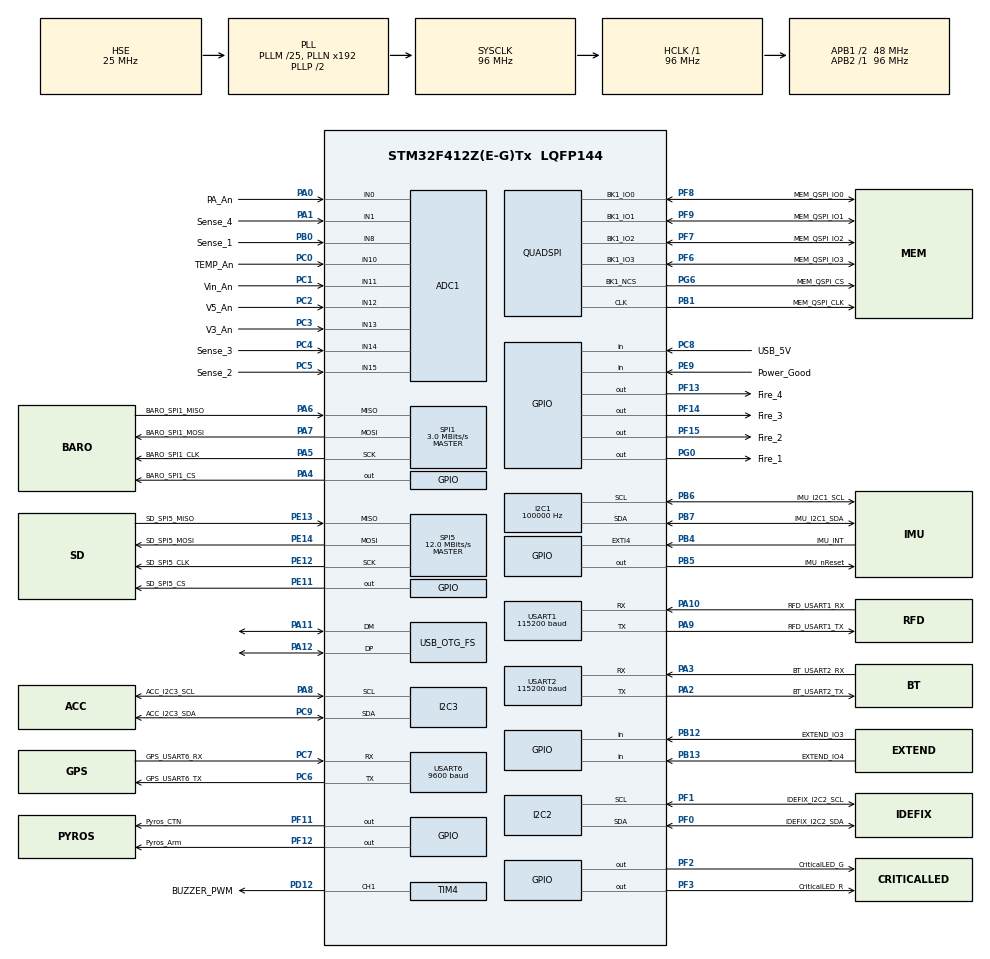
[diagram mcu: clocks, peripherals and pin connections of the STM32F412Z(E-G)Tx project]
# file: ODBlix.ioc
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ADC1.Channel-0\#ChannelRegularConversion=ADC_CHANNEL_0
ADC1.Channel-1\#ChannelRegularConversion=ADC_CHANNEL_1
ADC1.Channel-10\#ChannelRegularConversion=ADC_CHANNEL_VREFINT
ADC1.Channel-2\#ChannelRegularConversion=ADC_CHANNEL_8
ADC1.Channel-3\#ChannelRegularConversion=ADC_CHANNEL_10
ADC1.Channel-4\#ChannelRegularConversion=ADC_CHANNEL_11
ADC1.Channel-5\#ChannelRegularConversion=ADC_CHANNEL_12
ADC1.Channel-6\#ChannelRegularConversion=ADC_CHANNEL_13
ADC1.Channel-7\#ChannelRegularConversion=ADC_CHANNEL_14
ADC1.Channel-8\#ChannelRegularConversion=ADC_CHANNEL_15
ADC1.Channel-9\#ChannelRegularConversion=ADC_CHANNEL_TEMPSENSOR
ADC1.DMAContinuousRequests=ENABLE
ADC1.ExternalTrigConv=ADC_EXTERNALTRIGCONV_T2_TRGO
ADC1.InjNumberOfConversion=0
ADC1.NbrOfConversion=11
ADC1.NbrOfConversionFlag=1
ADC1.Rank-0\#ChannelRegularConversion=1
ADC1.Rank-1\#ChannelRegularConversion=2
ADC1.Rank-10\#ChannelRegularConversion=11
ADC1.Rank-2\#ChannelRegularConversion=3
ADC1.Rank-3\#ChannelRegularConversion=4
ADC1.Rank-4\#ChannelRegularConversion=5
ADC1.Rank-5\#ChannelRegularConversion=6
ADC1.Rank-6\#ChannelRegularConversion=7
ADC1.Rank-7\#ChannelRegularConversion=8
ADC1.Rank-8\#ChannelRegularConversion=9
ADC1.Rank-9\#ChannelRegularConversion=10
ADC1.SamplingTime-0\#ChannelRegularConversion=ADC_SAMPLETIME_56CYCLES
ADC1.SamplingTime-1\#ChannelRegularConversion=ADC_SAMPLETIME_56CYCLES
ADC1.SamplingTime-10\#ChannelRegularConversion=ADC_SAMPLETIME_56CYCLES
ADC1.SamplingTime-2\#ChannelRegularConversion=ADC_SAMPLETIME_56CYCLES
ADC1.SamplingTime-3\#ChannelRegularConversion=ADC_SAMPLETIME_56CYCLES
ADC1.SamplingTime-4\#ChannelRegularConversion=ADC_SAMPLETIME_56CYCLES
ADC1.SamplingTime-5\#ChannelRegularConversion=ADC_SAMPLETIME_56CYCLES
ADC1.SamplingTime-6\#ChannelRegularConversion=ADC_SAMPLETIME_56CYCLES
ADC1.SamplingTime-7\#ChannelRegularConversion=ADC_SAMPLETIME_56CYCLES
ADC1.SamplingTime-8\#ChannelRegularConversion=ADC_SAMPLETIME_56CYCLES
ADC1.SamplingTime-9\#ChannelRegularConversion=ADC_SAMPLETIME_56CYCLES
ADC1.ScanConvMode=ENABLE
ADC1.master=1
Dma.ADC1.0.Direction=DMA_PERIPH_TO_MEMORY
Dma.ADC1.0.FIFOMode=DMA_FIFOMODE_DISABLE
Dma.ADC1.0.Instance=DMA2_Stream0
Dma.ADC1.0.MemDataAlignment=DMA_MDATAALIGN_HALFWORD
Dma.ADC1.0.MemInc=DMA_MINC_ENABLE
Dma.ADC1.0.Mode=DMA_CIRCULAR
Dma.ADC1.0.PeriphDataAlignment=DMA_PDATAALIGN_HALFWORD
Dma.ADC1.0.PeriphInc=DMA_PINC_DISABLE
Dma.ADC1.0.Priority=DMA_PRIORITY_MEDIUM
Dma.I2C1_RX.2.Direction=DMA_PERIPH_TO_MEMORY
Dma.I2C1_RX.2.FIFOMode=DMA_FIFOMODE_DISABLE
Dma.I2C1_RX.2.Instance=DMA1_Stream0
Dma.I2C1_RX.2.MemDataAlignment=DMA_MDATAALIGN_BYTE
Dma.I2C1_RX.2.MemInc=DMA_MINC_ENABLE
Dma.I2C1_RX.2.Mode=DMA_CIRCULAR
Dma.I2C1_RX.2.PeriphDataAlignment=DMA_PDATAALIGN_BYTE
Dma.I2C1_RX.2.PeriphInc=DMA_PINC_DISABLE
Dma.I2C1_RX.2.Priority=DMA_PRIORITY_LOW
Dma.Request0=ADC1
Dma.Request1=USART6_RX
Dma.Request2=I2C1_RX
Dma.Request3=SPI5_TX
Dma.Request4=SPI5_RX
Dma.Request5=USART1_TX
Dma.Request6=USART2_TX
Dma.SPI5_RX.4.Direction=DMA_PERIPH_TO_MEMORY
Dma.SPI5_RX.4.FIFOMode=DMA_FIFOMODE_DISABLE
Dma.SPI5_RX.4.Instance=DMA2_Stream3
Dma.SPI5_RX.4.MemDataAlignment=DMA_MDATAALIGN_BYTE
Dma.SPI5_RX.4.MemInc=DMA_MINC_ENABLE
Dma.SPI5_RX.4.Mode=DMA_NORMAL
Dma.SPI5_RX.4.PeriphDataAlignment=DMA_PDATAALIGN_BYTE
Dma.SPI5_RX.4.PeriphInc=DMA_PINC_DISABLE
Dma.SPI5_RX.4.Priority=DMA_PRIORITY_LOW
Dma.SPI5_TX.3.Direction=DMA_MEMORY_TO_PERIPH
Dma.SPI5_TX.3.FIFOMode=DMA_FIFOMODE_DISABLE
Dma.SPI5_TX.3.Instance=DMA2_Stream4
Dma.SPI5_TX.3.MemDataAlignment=DMA_MDATAALIGN_BYTE
Dma.SPI5_TX.3.MemInc=DMA_MINC_ENABLE
Dma.SPI5_TX.3.Mode=DMA_NORMAL
Dma.SPI5_TX.3.PeriphDataAlignment=DMA_PDATAALIGN_BYTE
Dma.SPI5_TX.3.PeriphInc=DMA_PINC_DISABLE
Dma.SPI5_TX.3.Priority=DMA_PRIORITY_LOW
Dma.USART1_TX.5.Direction=DMA_MEMORY_TO_PERIPH
Dma.USART1_TX.5.FIFOMode=DMA_FIFOMODE_DISABLE
Dma.USART1_TX.5.Instance=DMA2_Stream7
Dma.USART1_TX.5.MemDataAlignment=DMA_MDATAALIGN_BYTE
Dma.USART1_TX.5.MemInc=DMA_MINC_ENABLE
Dma.USART1_TX.5.Mode=DMA_CIRCULAR
Dma.USART1_TX.5.PeriphDataAlignment=DMA_PDATAALIGN_BYTE
Dma.USART1_TX.5.PeriphInc=DMA_PINC_DISABLE
Dma.USART1_TX.5.Priority=DMA_PRIORITY_LOW
Dma.USART2_TX.6.Direction=DMA_MEMORY_TO_PERIPH
Dma.USART2_TX.6.FIFOMode=DMA_FIFOMODE_DISABLE
Dma.USART2_TX.6.Instance=DMA1_Stream6
Dma.USART2_TX.6.MemDataAlignment=DMA_MDATAALIGN_BYTE
Dma.USART2_TX.6.MemInc=DMA_MINC_ENABLE
Dma.USART2_TX.6.Mode=DMA_NORMAL
Dma.USART2_TX.6.PeriphDataAlignment=DMA_PDATAALIGN_BYTE
Dma.USART2_TX.6.PeriphInc=DMA_PINC_DISABLE
Dma.USART2_TX.6.Priority=DMA_PRIORITY_LOW
Dma.USART6_RX.1.Direction=DMA_PERIPH_TO_MEMORY
Dma.USART6_RX.1.FIFOMode=DMA_FIFOMODE_DISABLE
Dma.USART6_RX.1.Instance=DMA2_Stream1
Dma.USART6_RX.1.MemDataAlignment=DMA_MDATAALIGN_BYTE
Dma.USART6_RX.1.MemInc=DMA_MINC_ENABLE
Dma.USART6_RX.1.Mode=DMA_CIRCULAR
Dma.USART6_RX.1.PeriphDataAlignment=DMA_PDATAALIGN_BYTE
Dma.USART6_RX.1.PeriphInc=DMA_PINC_DISABLE
Dma.USART6_RX.1.Priority=DMA_PRIORITY_MEDIUM
FATFS._FS_EXFAT=1
FATFS._MAX_SS=512
FATFS._USE_LFN=1
I2C1.ClockSpeed=100000
I2C1.I2C_Mode=I2C_Standard
I2C2.I2C_Mode=I2C_Standard
I2C3.I2C_Mode=I2C_Standard
Mcu.Family=STM32F4
Mcu.Name=STM32F412Z(E-G)Tx
Mcu.Package=LQFP144
NVIC.ADC_IRQn=true\:0\:0\:false\:false\:true\:true\:true\:true
NVIC.DMA1_Stream0_IRQn=true\:0\:0\:false\:false\:true\:false\:true\:true
NVIC.DMA1_Stream6_IRQn=true\:0\:0\:false\:false\:true\:false\:true\:true
NVIC.DMA2_Stream0_IRQn=true\:0\:0\:false\:false\:true\:false\:true\:true
NVIC.DMA2_Stream1_IRQn=true\:0\:0\:false\:false\:true\:false\:true\:true
NVIC.DMA2_Stream3_IRQn=true\:0\:0\:false\:false\:true\:false\:true\:true
NVIC.DMA2_Stream4_IRQn=true\:0\:0\:false\:false\:true\:false\:true\:true
NVIC.DMA2_Stream7_IRQn=true\:0\:0\:false\:false\:true\:false\:true\:true
NVIC.EXTI4_IRQn=true\:0\:0\:false\:false\:true\:true\:true\:true
NVIC.I2C1_EV_IRQn=true\:0\:0\:false\:false\:true\:true\:true\:true
NVIC.OTG_FS_IRQn=true\:0\:0\:false\:false\:true\:false\:true\:true
NVIC.PriorityGroup=NVIC_PRIORITYGROUP_4
NVIC.SPI5_IRQn=true\:0\:0\:false\:false\:true\:true\:true\:true
NVIC.TIM5_IRQn=true\:0\:0\:false\:false\:true\:true\:true\:true
NVIC.USART1_IRQn=true\:0\:0\:false\:false\:true\:true\:true\:true
NVIC.USART2_IRQn=true\:0\:0\:false\:false\:true\:true\:true\:true
NVIC.USART6_IRQn=true\:0\:0\:false\:false\:true\:true\:true\:true
PA0.GPIO_Label=PA_An
PA0.Signal=ADCx_IN0
PA1.GPIO_Label=Sense_4
PA1.Signal=ADCx_IN1
PA10.GPIO_Label=RFD_USART1_RX
PA10.Mode=Asynchronous
PA10.Signal=USART1_RX
PA11.Mode=Device_Only
PA11.Signal=USB_OTG_FS_DM
PA12.Mode=Device_Only
PA12.Signal=USB_OTG_FS_DP
PA13.GPIO_Label=SYS_SWDIO
PA13.Mode=Trace_Asynchronous_SW
PA13.Signal=SYS_JTMS-SWDIO
PA14.GPIO_Label=SYS_SWCLK
PA14.Mode=Trace_Asynchronous_SW
PA14.Signal=SYS_JTCK-SWCLK
PA2.GPIO_Label=BT_USART2_TX
PA2.Mode=Asynchronous
PA2.Signal=USART2_TX
PA3.GPIO_Label=BT_USART2_RX
PA3.Mode=Asynchronous
PA3.Signal=USART2_RX
PA4.GPIO_Label=BARO_SPI1_CS
PA4.Signal=GPIO_Output
PA5.GPIO_Label=BARO_SPI1_CLK
PA5.Mode=Full_Duplex_Master
PA5.Signal=SPI1_SCK
PA6.GPIO_Label=BARO_SPI1_MISO
PA6.Mode=Full_Duplex_Master
PA6.Signal=SPI1_MISO
PA7.GPIO_Label=BARO_SPI1_MOSI
PA7.Mode=Full_Duplex_Master
PA7.Signal=SPI1_MOSI
PA8.GPIO_Label=ACC_I2C3_SCL
PA8.GPIO_Speed=GPIO_SPEED_FREQ_MEDIUM
PA8.Mode=I2C
PA8.Signal=I2C3_SCL
PA9.GPIO_Label=RFD_USART1_TX
PA9.Mode=Asynchronous
PA9.Signal=USART1_TX
PB0.GPIO_Label=Sense_1
PB0.Signal=ADCx_IN8
PB1.GPIO_Label=MEM_QSPI_CLK
PB1.Mode=Single Bank 1
PB1.Signal=QUADSPI_CLK
PB10.GPIO_Label=EXTEND_IO1
PB10.Signal=USART3_TX
PB11.GPIO_Label=EXTEND_IO2
PB11.Signal=USART3_RX
PB12.GPIO_Label=EXTEND_IO3
PB12.Signal=GPIO_Input
PB13.GPIO_Label=EXTEND_IO4
PB13.Signal=GPIO_Input
PB3.GPIO_Label=SYS_SWO
PB3.Mode=Trace_Asynchronous_SW
PB3.Signal=SYS_JTDO-SWO
PB4.GPIO_Label=IMU_INT
PB4.GPIO_PuPd=GPIO_PULLDOWN
PB4.Signal=GPXTI4
PB5.GPIO_Label=IMU_nReset
PB5.Signal=GPIO_Output
PB6.GPIO_Label=IMU_I2C1_SCL
PB6.GPIO_Speed=GPIO_SPEED_FREQ_MEDIUM
PB6.Mode=I2C
PB6.Signal=I2C1_SCL
PB7.GPIO_Label=IMU_I2C1_SDA
PB7.GPIO_Speed=GPIO_SPEED_FREQ_MEDIUM
PB7.Mode=I2C
PB7.Signal=I2C1_SDA
PC0.GPIO_Label=TEMP_An
PC0.Signal=ADCx_IN10
PC1.GPIO_Label=Vin_An
PC1.Signal=ADCx_IN11
PC2.GPIO_Label=V5_An
PC2.Signal=ADCx_IN12
PC3.GPIO_Label=V3_An
PC3.Signal=ADCx_IN13
PC4.GPIO_Label=Sense_3
PC4.Signal=ADCx_IN14
PC5.GPIO_Label=Sense_2
PC5.Signal=ADCx_IN15
PC6.GPIO_Label=GPS_USART6_TX
PC6.Mode=Asynchronous
PC6.Signal=USART6_TX
PC7.GPIO_Label=GPS_USART6_RX
PC7.Mode=Asynchronous
PC7.Signal=USART6_RX
PC8.GPIO_Label=USB_5V
PC8.Signal=GPIO_Input
PC9.GPIO_Label=ACC_I2C3_SDA
PC9.GPIO_Speed=GPIO_SPEED_FREQ_MEDIUM
PC9.Mode=I2C
PC9.Signal=I2C3_SDA
PD12.GPIO_Label=BUZZER_PWM
PD12.Signal=S_TIM4_CH1
PE11.GPIO_Label=SD_SPI5_CS
PE11.Signal=GPIO_Output
PE12.GPIO_Label=SD_SPI5_CLK
PE12.Mode=Full_Duplex_Master
PE12.Signal=SPI5_SCK
PE13.GPIO_Label=SD_SPI5_MISO
PE13.Mode=Full_Duplex_Master
PE13.Signal=SPI5_MISO
PE14.GPIO_Label=SD_SPI5_MOSI
PE14.Mode=Full_Duplex_Master
PE14.Signal=SPI5_MOSI
PE9.GPIO_Label=Power_Good
PE9.Signal=GPIO_Input
PF0.GPIO_Label=IDEFIX_I2C2_SDA
PF0.GPIO_Speed=GPIO_SPEED_FREQ_MEDIUM
PF0.Mode=I2C
PF0.Signal=I2C2_SDA
PF1.GPIO_Label=IDEFIX_I2C2_SCL
PF1.GPIO_Speed=GPIO_SPEED_FREQ_MEDIUM
PF1.Mode=I2C
PF1.Signal=I2C2_SCL
PF11.GPIO_Label=Pyros_CTN
PF11.Signal=GPIO_Output
PF12.GPIO_Label=Pyros_Arm
PF12.Signal=GPIO_Output
PF13.GPIO_Label=Fire_4
PF13.Signal=GPIO_Output
PF14.GPIO_Label=Fire_3
PF14.Signal=GPIO_Output
PF15.GPIO_Label=Fire_2
PF15.Signal=GPIO_Output
PF2.GPIO_Label=CriticalLED_G
PF2.Signal=GPIO_Output
PF3.GPIO_Label=CriticalLED_R
PF3.Signal=GPIO_Output
PF6.GPIO_Label=MEM_QSPI_IO3
PF6.Mode=Single Bank 1
PF6.Signal=QUADSPI_BK1_IO3
PF7.GPIO_Label=MEM_QSPI_IO2
PF7.Mode=Single Bank 1
PF7.Signal=QUADSPI_BK1_IO2
PF8.GPIO_Label=MEM_QSPI_IO0
PF8.Mode=Single Bank 1
PF8.Signal=QUADSPI_BK1_IO0
PF9.GPIO_Label=MEM_QSPI_IO1
PF9.Mode=Single Bank 1
PF9.Signal=QUADSPI_BK1_IO1
PG0.GPIO_Label=Fire_1
PG0.Signal=GPIO_Output
PG6.GPIO_Label=MEM_QSPI_CS
PG6.Mode=Single Bank 1
PG6.Signal=QUADSPI_BK1_NCS
PH0\ -\ OSC_IN.Mode=HSE-External-Oscillator
PH0\ -\ OSC_IN.Signal=RCC_OSC_IN
PH1\ -\ OSC_OUT.Mode=HSE-External-Oscillator
PH1\ -\ OSC_OUT.Signal=RCC_OSC_OUT
ProjectManager.HeapSize=0x200
ProjectManager.StackSize=0x400
ProjectManager.TargetToolchain=CMake
QUADSPI.ChipSelectHighTime=QSPI_CS_HIGH_TIME_2_CYCLE
QUADSPI.ClockPrescaler=3
QUADSPI.FlashSize=25
RCC.AHBFreq_Value=96000000
RCC.APB1CLKDivider=RCC_HCLK_DIV2
RCC.APB1Freq_Value=48000000
RCC.APB1TimFreq_Value=96000000
RCC.APB2Freq_Value=96000000
RCC.APB2TimFreq_Value=96000000
RCC.CortexFreq_Value=96000000
RCC.EnbaleCSS=true
RCC.HCLKFreq_Value=96000000
RCC.HSE_VALUE=25000000
RCC.PLLM=25
RCC.PLLQ=4
RCC.SYSCLKFreq_VALUE=96000000
RCC.SYSCLKSource=RCC_SYSCLKSOURCE_PLLCLK
RCC.USBFreq_Value=48000000
RCC.VCOOutputFreq_Value=192000000
SH.ADCx_IN0.0=ADC1_IN0,IN0
SH.ADCx_IN1.0=ADC1_IN1,IN1
SH.ADCx_IN10.0=ADC1_IN10,IN10
SH.ADCx_IN11.0=ADC1_IN11,IN11
SH.ADCx_IN12.0=ADC1_IN12,IN12
SH.ADCx_IN13.0=ADC1_IN13,IN13
SH.ADCx_IN14.0=ADC1_IN14,IN14
SH.ADCx_IN15.0=ADC1_IN15,IN15
SH.ADCx_IN8.0=ADC1_IN8,IN8
SH.S_TIM4_CH1.0=TIM4_CH1,PWM Generation1 CH1
SPI1.BaudRatePrescaler=SPI_BAUDRATEPRESCALER_32
SPI1.CLKPolarity=SPI_POLARITY_LOW
SPI1.CalculateBaudRate=3.0 MBits/s
SPI1.Direction=SPI_DIRECTION_2LINES
SPI1.Mode=SPI_MODE_MASTER
SPI1.VirtualType=VM_MASTER
SPI5.BaudRatePrescaler=SPI_BAUDRATEPRESCALER_8
SPI5.CalculateBaudRate=12.0 MBits/s
SPI5.Direction=SPI_DIRECTION_2LINES
SPI5.Mode=SPI_MODE_MASTER
SPI5.VirtualType=VM_MASTER
TIM2.Period=9999
TIM2.Prescaler=959
TIM2.TIM_MasterOutputTrigger=TIM_TRGO_UPDATE
TIM4.AutoReloadPreload=TIM_AUTORELOAD_PRELOAD_ENABLE
TIM4.Channel-PWM\ Generation1\ CH1=TIM_CHANNEL_1
TIM4.Period=369
TIM4.Prescaler=95
TIM4.Pulse-PWM\ Generation1\ CH1=185
TIM5.Period=4294967295
TIM5.Prescaler=95
USART1.BaudRate=115200
USART1.Mode=MODE_TX
USART1.VirtualMode=VM_ASYNC
USART1.WordLength=WORDLENGTH_8B
USART2.BaudRate=115200
USART2.VirtualMode=VM_ASYNC
USART2.WordLength=WORDLENGTH_8B
USART6.BaudRate=9600
USART6.VirtualMode=VM_ASYNC
USB_DEVICE.CLASS_NAME_FS=MSC
USB_DEVICE.MSC_MEDIA_PACKET=4096
USB_DEVICE.USBD_LPM_ENABLED=0
USB_DEVICE.USBD_SELF_POWERED=1
USB_DEVICE.VirtualMode=Msc
USB_DEVICE.VirtualModeFS=Msc_FS
USB_OTG_FS.VirtualMode=Device_Only
VP_ADC1_TempSens_Input.Mode=IN-TempSens
VP_ADC1_Vref_Input.Mode=IN-Vrefint
VP_FATFS_VS_Generic.Mode=User_defined
VP_TIM2_VS_ClockSourceINT.Mode=Internal
VP_TIM4_VS_ClockSourceINT.Mode=Internal
VP_TIM5_VS_ClockSourceINT.Mode=Internal
VP_USB_DEVICE_VS_USB_DEVICE_MSC_FS.Mode=MSC_FS
board=custom

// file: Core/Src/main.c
/* USER CODE BEGIN Header */
/**
  ******************************************************************************
  * @file           : main.c
  * @brief          : Main program body
  ******************************************************************************
  * @attention
  *
  * Copyright (c) 2025 STMicroelectronics.
  * All rights reserved.
  *
  * This software is licensed under terms that can be found in the LICENSE file
  * in the root directory of this software component.
  * If no LICENSE file comes with this software, it is provided AS-IS.
  *
  ******************************************************************************
  */
/* USER CODE END Header */
#include "main.h"
#include "fatfs.h"
#include "usb_device.h"

/* USER CODE BEGIN Includes */
#include "odb.h"
#include "Systems/tasks.h"
#include "Systems/scheduler.h"
#include "Tools/profiler.h"
#include "Systems/config.h"
#include "Systems/flight_fsm.h"
#include "Drivers/adxl382.h"
#include "Drivers/bno055.h"
#include "Drivers/hm11.h"
#include "Drivers/ms5611.h"
#include "Drivers/bno055.h"
#include "Drivers/l76lm33.h"
#include "Drivers/ltste682krkgwt.h"
#include "Drivers/pyros.h"
#include "Drivers/rfd900x.h"
#include "Drivers/smtb0927twr.h"
#include "Drivers/system_measurements.h"
#include "Drivers/w25q512jveim.h"
#include "Utils/reboot_manager.h"
/* USER CODE END Includes */

ADC_HandleTypeDef hadc1;
DMA_HandleTypeDef hdma_adc1;

I2C_HandleTypeDef hi2c1;
I2C_HandleTypeDef hi2c2;
I2C_HandleTypeDef hi2c3;
DMA_HandleTypeDef hdma_i2c1_rx;

QSPI_HandleTypeDef hqspi;

SPI_HandleTypeDef hspi1;
SPI_HandleTypeDef hspi5;
DMA_HandleTypeDef hdma_spi5_tx;
DMA_HandleTypeDef hdma_spi5_rx;

TIM_HandleTypeDef htim2;
TIM_HandleTypeDef htim4;
TIM_HandleTypeDef htim5;

UART_HandleTypeDef huart1;
UART_HandleTypeDef huart2;
UART_HandleTypeDef huart6;
DMA_HandleTypeDef hdma_usart1_tx;
DMA_HandleTypeDef hdma_usart2_tx;
DMA_HandleTypeDef hdma_usart6_rx;

/* USER CODE BEGIN PV */
adxl382_t adxl382 = {
    .hi2c = &hi2c3,
    .mode = ADXL382_MODE_HP,
	.range = ADXL382_RANGE_30G,
	.filters_cfg = {
		.iir7_bypass  = false,
		.sinc_rate    = ADXL382_SINC_32X,
		.iir1_enable  = false,
		.round_mode   = ADXL382_ROUND_TRUNCATE,
		.dcf_bypass   = false,
		.eq_bypass    = true,
		.lpf_mode     = ADXL382_LPF_ODR_16,
		.hpf_path     = ADXL382_HPF_DSM,
		.hpf_corner   = ADXL382_HPF_NONE,
		.or_behavior  = ADXL382_OR_HOLD_PREV
	},
	.x_axis_offset = {
		.c0 = 0.0f,
		.c1 = 0.0f,
		.c2 = 0.0f,
		.c3 = 0.0f,
	},
	.y_axis_offset = {
		.c0 = 0.0f,
		.c1 = 0.0f,
		.c2 = 0.0f,
		.c3 = 0.0f,
	},
	.z_axis_offset = {
		.c0 = 0.0f,
		.c1 = 0.0f,
		.c2 = 0.0f,
		.c3 = 0.0f,
	},
	.faces_offset = {
		.scale_matrix = {
			{1.0f, 0.0f, 0.0f},
			{0.0f, 1.0f, 0.0f},
			{0.0f, 0.0f, 1.0f}
		},
		.bias = {0.0f, 0.0f, 0.0f}
	}
};
bno055_t bno055 = {
    .hi2c = &hi2c1,
    .drdy_port = IMU_INT_GPIO_Port,
    .drdy_pin = IMU_INT_Pin,
    .rst_port = IMU_nReset_GPIO_Port,
    .rst_pin = IMU_nReset_Pin,
    .op_mode = BNO055_OP_MODE_NDOF,
    .acc_range = BNO055_ACC_RANGE_4G, // effective only if using a non-fusion mode, else its set 4G by IMU's MCU
};
hm11_t hm11 = {
    .huart = &huart2,
    .baudrate = HM11_BAUD_115200,
	.tx_power = HM11_NORMAL_TX_POWER,
};
l76lm33_t l76lm33 = {
	.huart = &huart6,
};
critical_led_t critical_led = {
	.current_color = NONE,
	.r_port = CriticalLED_R_GPIO_Port,
	.g_port = CriticalLED_G_GPIO_Port,
	.r_pin = CriticalLED_R_Pin,
	.g_pin = CriticalLED_G_Pin,
};
ms5611_t ms5611 = {
    .spi = &hspi1,
    .cs_port = BARO_SPI1_CS_GPIO_Port,
    .cs_pin = BARO_SPI1_CS_Pin,
};
pyro_t pyros[4] = {
    {
        .fire_port = Fire_1_GPIO_Port,
        .fire_pin = Fire_1_Pin,
        .channel = PYRO_1,
        .is_connected = false,
        .is_fire = false,
    },
    {
        .fire_port = Fire_2_GPIO_Port,
        .fire_pin = Fire_2_Pin,
        .channel = PYRO_2,
        .is_connected = false,
        .is_fire = false,
    },
    {
        .fire_port = Fire_3_GPIO_Port,
        .fire_pin = Fire_3_Pin,
        .channel = PYRO_3,
        .is_connected = false,
        .is_fire = false,
    },
    {
        .fire_port = Fire_4_GPIO_Port,
        .fire_pin = Fire_4_Pin,
        .channel = PYRO_4,
        .is_connected = false,
        .is_fire = false,
    }
};
rfd900x_t rfd900x = {
    .huart = &huart1,
};
system_measurements_t system_measurements = {
	.hadc = &hadc1,
	.htim = &htim2,
	.pg_port = Power_Good_GPIO_Port,
	.pg_pin = Power_Good_Pin
};
buzzer_t buzzer = {
	.htim = &htim4,
	.channel = TIM_CHANNEL_1
};
volatile uint16_t adc_buffer[DMA_INDEX_SIZE];
w25q_t w25q = {
	.hqspi = &hqspi,
};
idefix_t idefix = {
	.hi2c = &hi2c2,
};
mem2067_t mem2067 = {};
odb_data_t flight_data = {0};
odb_stats_t flight_stats = {0};

/* USER CODE END PV */

void SystemClock_Config(void);
static void MX_GPIO_Init(void);
static void MX_DMA_Init(void);
static void MX_I2C1_Init(void);
static void MX_I2C2_Init(void);
static void MX_SPI1_Init(void);
static void MX_SPI5_Init(void);
static void MX_USART1_UART_Init(void);
static void MX_USART2_UART_Init(void);
static void MX_USART6_UART_Init(void);
static void MX_QUADSPI_Init(void);
static void MX_ADC1_Init(void);
static void MX_I2C3_Init(void);
static void MX_TIM2_Init(void);
static void MX_TIM4_Init(void);
static void MX_TIM5_Init(void);

/* USER CODE BEGIN 0 */
int _write(int file, char *ptr, int len) {
    int DataIdx;
    for (DataIdx = 0; DataIdx < len; DataIdx++) {
        ITM_SendChar(*ptr++);
    }
    return len;
}
/* USER CODE END 0 */

int main(void)
{

  /* MCU Configuration--------------------------------------------------------*/

  /* Reset of all peripherals, Initializes the Flash interface and the Systick. */
  HAL_Init();

  /* Configure the system clock */
  SystemClock_Config();

  /* Initialize all configured peripherals */
  MX_GPIO_Init();
  MX_DMA_Init();
  MX_I2C1_Init();
  MX_I2C2_Init();
  MX_SPI1_Init();
  MX_SPI5_Init();
  MX_USART1_UART_Init();
  MX_USART2_UART_Init();
  MX_USART6_UART_Init();
  MX_QUADSPI_Init();
  MX_USB_DEVICE_Init();
  MX_ADC1_Init();
  MX_I2C3_Init();
  MX_FATFS_Init();
  MX_TIM2_Init();
  MX_TIM4_Init();
  MX_TIM5_Init();
  /* USER CODE BEGIN 2 */
  HAL_Delay(2000);
  DWT_Init();
  ODB_Init(&flight_data, &flight_stats);
  RebootManager_Init();
  Scheduler_Init();
  Scheduler_AddTask("Reboot", Task_RebootManager, TASK_REBOOT_MANAGER_FREQ_MS);
  Scheduler_AddTask("Data_Update", Task_DataUpdate, TASK_DATA_UPDATE_FREQ_MS);
  Scheduler_AddTask("FSM", Task_ExecuteFsm, TASK_FSM_FREQ_MS);
  Scheduler_AddTask("Logger", Task_Logger, TASK_LOGGER_FREQ_MS);
  Scheduler_AddTask("Telemetry", Task_Telemetry, TASK_TELEMETRY_FREQ_MS);
  Scheduler_AddTask("Idefix", Task_Idefix, TASK_IDEFIX_FREQ_MS);
  Scheduler_AddTask("BTRx", Task_BluetoothAppRx, TASK_BLUETOOTH_APP_RX_FREQ_MS);
  Scheduler_AddTask("BTTx", Task_BluetoothAppTx, TASK_BLUETOOTH_APP_TX_FREQ_MS);
  Scheduler_SetActive("Reboot", true);
  Scheduler_SetActive("Data_Update", true);
  Scheduler_SetActive("FSM", true);
  Scheduler_SetActive("Logger", true);
  Scheduler_SetActive("Telemetry", true);
  Scheduler_SetActive("Idefix", false);
  Scheduler_SetActive("BTRx", true);
  Scheduler_SetActive("BTTx", true);
  /* USER CODE END 2 */

  /* Infinite loop */
  while (1)
  {

    /* USER CODE BEGIN 3 */
    Scheduler_Run();
  }
  /* USER CODE END 3 */
}

void SystemClock_Config(void)
{
  RCC_OscInitTypeDef RCC_OscInitStruct = {0};
  RCC_ClkInitTypeDef RCC_ClkInitStruct = {0};

  /** Configure the main internal regulator output voltage
  */
  __HAL_RCC_PWR_CLK_ENABLE();
  __HAL_PWR_VOLTAGESCALING_CONFIG(PWR_REGULATOR_VOLTAGE_SCALE1);

  /** Initializes the RCC Oscillators according to the specified parameters
  * in the RCC_OscInitTypeDef structure.
  */
  RCC_OscInitStruct.OscillatorType = RCC_OSCILLATORTYPE_HSE;
  RCC_OscInitStruct.HSEState = RCC_HSE_ON;
  RCC_OscInitStruct.PLL.PLLState = RCC_PLL_ON;
  RCC_OscInitStruct.PLL.PLLSource = RCC_PLLSOURCE_HSE;
  RCC_OscInitStruct.PLL.PLLM = 25;
  RCC_OscInitStruct.PLL.PLLN = 192;
  RCC_OscInitStruct.PLL.PLLP = RCC_PLLP_DIV2;
  RCC_OscInitStruct.PLL.PLLQ = 4;
  RCC_OscInitStruct.PLL.PLLR = 2;
  if (HAL_RCC_OscConfig(&RCC_OscInitStruct) != HAL_OK)
  {
    Error_Handler();
  }

  /** Initializes the CPU, AHB and APB buses clocks
  */
  RCC_ClkInitStruct.ClockType = RCC_CLOCKTYPE_HCLK|RCC_CLOCKTYPE_SYSCLK
                              |RCC_CLOCKTYPE_PCLK1|RCC_CLOCKTYPE_PCLK2;
  RCC_ClkInitStruct.SYSCLKSource = RCC_SYSCLKSOURCE_PLLCLK;
  RCC_ClkInitStruct.AHBCLKDivider = RCC_SYSCLK_DIV1;
  RCC_ClkInitStruct.APB1CLKDivider = RCC_HCLK_DIV2;
  RCC_ClkInitStruct.APB2CLKDivider = RCC_HCLK_DIV1;

  if (HAL_RCC_ClockConfig(&RCC_ClkInitStruct, FLASH_LATENCY_3) != HAL_OK)
  {
    Error_Handler();
  }

  /** Enables the Clock Security System
  */
  HAL_RCC_EnableCSS();
}

static void MX_ADC1_Init(void)
{

  ADC_ChannelConfTypeDef sConfig = {0};

  /** Configure the global features of the ADC (Clock, Resolution, Data Alignment and number of conversion)
  */
  hadc1.Instance = ADC1;
  hadc1.Init.ClockPrescaler = ADC_CLOCK_SYNC_PCLK_DIV4;
  hadc1.Init.Resolution = ADC_RESOLUTION_12B;
  hadc1.Init.ScanConvMode = ENABLE;
  hadc1.Init.ContinuousConvMode = DISABLE;
  hadc1.Init.DiscontinuousConvMode = DISABLE;
  hadc1.Init.ExternalTrigConvEdge = ADC_EXTERNALTRIGCONVEDGE_RISING;
  hadc1.Init.ExternalTrigConv = ADC_EXTERNALTRIGCONV_T2_TRGO;
  hadc1.Init.DataAlign = ADC_DATAALIGN_RIGHT;
  hadc1.Init.NbrOfConversion = 11;
  hadc1.Init.DMAContinuousRequests = ENABLE;
  hadc1.Init.EOCSelection = ADC_EOC_SINGLE_CONV;
  if (HAL_ADC_Init(&hadc1) != HAL_OK)
  {
    Error_Handler();
  }

  /** Configure for the selected ADC regular channel its corresponding rank in the sequencer and its sample time.
  */
  sConfig.Channel = ADC_CHANNEL_0;
  sConfig.Rank = 1;
  sConfig.SamplingTime = ADC_SAMPLETIME_56CYCLES;
  if (HAL_ADC_ConfigChannel(&hadc1, &sConfig) != HAL_OK)
  {
    Error_Handler();
  }

  /** Configure for the selected ADC regular channel its corresponding rank in the sequencer and its sample time.
  */
  sConfig.Channel = ADC_CHANNEL_1;
  sConfig.Rank = 2;
  if (HAL_ADC_ConfigChannel(&hadc1, &sConfig) != HAL_OK)
  {
    Error_Handler();
  }

  /** Configure for the selected ADC regular channel its corresponding rank in the sequencer and its sample time.
  */
  sConfig.Channel = ADC_CHANNEL_8;
  sConfig.Rank = 3;
  if (HAL_ADC_ConfigChannel(&hadc1, &sConfig) != HAL_OK)
  {
    Error_Handler();
  }

  /** Configure for the selected ADC regular channel its corresponding rank in the sequencer and its sample time.
  */
  sConfig.Channel = ADC_CHANNEL_10;
  sConfig.Rank = 4;
  if (HAL_ADC_ConfigChannel(&hadc1, &sConfig) != HAL_OK)
  {
    Error_Handler();
  }

  /** Configure for the selected ADC regular channel its corresponding rank in the sequencer and its sample time.
  */
  sConfig.Channel = ADC_CHANNEL_11;
  sConfig.Rank = 5;
  if (HAL_ADC_ConfigChannel(&hadc1, &sConfig) != HAL_OK)
  {
    Error_Handler();
  }

  /** Configure for the selected ADC regular channel its corresponding rank in the sequencer and its sample time.
  */
  sConfig.Channel = ADC_CHANNEL_12;
  sConfig.Rank = 6;
  if (HAL_ADC_ConfigChannel(&hadc1, &sConfig) != HAL_OK)
  {
    Error_Handler();
  }

  /** Configure for the selected ADC regular channel its corresponding rank in the sequencer and its sample time.
  */
  sConfig.Channel = ADC_CHANNEL_13;
  sConfig.Rank = 7;
  if (HAL_ADC_ConfigChannel(&hadc1, &sConfig) != HAL_OK)
  {
    Error_Handler();
  }

  /** Configure for the selected ADC regular channel its corresponding rank in the sequencer and its sample time.
  */
  sConfig.Channel = ADC_CHANNEL_14;
  sConfig.Rank = 8;
  if (HAL_ADC_ConfigChannel(&hadc1, &sConfig) != HAL_OK)
  {
    Error_Handler();
  }

  /** Configure for the selected ADC regular channel its corresponding rank in the sequencer and its sample time.
  */
  sConfig.Channel = ADC_CHANNEL_15;
  sConfig.Rank = 9;
  if (HAL_ADC_ConfigChannel(&hadc1, &sConfig) != HAL_OK)
  {
    Error_Handler();
  }

  /** Configure for the selected ADC regular channel its corresponding rank in the sequencer and its sample time.
  */
  sConfig.Channel = ADC_CHANNEL_TEMPSENSOR;
  sConfig.Rank = 10;
  if (HAL_ADC_ConfigChannel(&hadc1, &sConfig) != HAL_OK)
  {
    Error_Handler();
  }

  /** Configure for the selected ADC regular channel its corresponding rank in the sequencer and its sample time.
  */
  sConfig.Channel = ADC_CHANNEL_VREFINT;
  sConfig.Rank = 11;
  if (HAL_ADC_ConfigChannel(&hadc1, &sConfig) != HAL_OK)
  {
    Error_Handler();
  }

}

static void MX_I2C1_Init(void)
{

  hi2c1.Instance = I2C1;
  hi2c1.Init.ClockSpeed = 100000;
  hi2c1.Init.DutyCycle = I2C_DUTYCYCLE_2;
  hi2c1.Init.OwnAddress1 = 0;
  hi2c1.Init.AddressingMode = I2C_ADDRESSINGMODE_7BIT;
  hi2c1.Init.DualAddressMode = I2C_DUALADDRESS_DISABLE;
  hi2c1.Init.OwnAddress2 = 0;
  hi2c1.Init.GeneralCallMode = I2C_GENERALCALL_DISABLE;
  hi2c1.Init.NoStretchMode = I2C_NOSTRETCH_DISABLE;
  if (HAL_I2C_Init(&hi2c1) != HAL_OK)
  {
    Error_Handler();
  }

}

static void MX_I2C2_Init(void)
{

  hi2c2.Instance = I2C2;
  hi2c2.Init.ClockSpeed = 100000;
  hi2c2.Init.DutyCycle = I2C_DUTYCYCLE_2;
  hi2c2.Init.OwnAddress1 = 0;
  hi2c2.Init.AddressingMode = I2C_ADDRESSINGMODE_7BIT;
  hi2c2.Init.DualAddressMode = I2C_DUALADDRESS_DISABLE;
  hi2c2.Init.OwnAddress2 = 0;
  hi2c2.Init.GeneralCallMode = I2C_GENERALCALL_DISABLE;
  hi2c2.Init.NoStretchMode = I2C_NOSTRETCH_DISABLE;
  if (HAL_I2C_Init(&hi2c2) != HAL_OK)
  {
    Error_Handler();
  }

}

static void MX_I2C3_Init(void)
{

  hi2c3.Instance = I2C3;
  hi2c3.Init.ClockSpeed = 100000;
  hi2c3.Init.DutyCycle = I2C_DUTYCYCLE_2;
  hi2c3.Init.OwnAddress1 = 0;
  hi2c3.Init.AddressingMode = I2C_ADDRESSINGMODE_7BIT;
  hi2c3.Init.DualAddressMode = I2C_DUALADDRESS_DISABLE;
  hi2c3.Init.OwnAddress2 = 0;
  hi2c3.Init.GeneralCallMode = I2C_GENERALCALL_DISABLE;
  hi2c3.Init.NoStretchMode = I2C_NOSTRETCH_DISABLE;
  if (HAL_I2C_Init(&hi2c3) != HAL_OK)
  {
    Error_Handler();
  }

}

static void MX_QUADSPI_Init(void)
{

  /* QUADSPI parameter configuration*/
  hqspi.Instance = QUADSPI;
  hqspi.Init.ClockPrescaler = 3;
  hqspi.Init.FifoThreshold = 1;
  hqspi.Init.SampleShifting = QSPI_SAMPLE_SHIFTING_NONE;
  hqspi.Init.FlashSize = 25;
  hqspi.Init.ChipSelectHighTime = QSPI_CS_HIGH_TIME_2_CYCLE;
  hqspi.Init.ClockMode = QSPI_CLOCK_MODE_0;
  hqspi.Init.FlashID = QSPI_FLASH_ID_1;
  hqspi.Init.DualFlash = QSPI_DUALFLASH_DISABLE;
  if (HAL_QSPI_Init(&hqspi) != HAL_OK)
  {
    Error_Handler();
  }

}

static void MX_SPI1_Init(void)
{

  /* SPI1 parameter configuration*/
  hspi1.Instance = SPI1;
  hspi1.Init.Mode = SPI_MODE_MASTER;
  hspi1.Init.Direction = SPI_DIRECTION_2LINES;
  hspi1.Init.DataSize = SPI_DATASIZE_8BIT;
  hspi1.Init.CLKPolarity = SPI_POLARITY_LOW;
  hspi1.Init.CLKPhase = SPI_PHASE_1EDGE;
  hspi1.Init.NSS = SPI_NSS_SOFT;
  hspi1.Init.BaudRatePrescaler = SPI_BAUDRATEPRESCALER_32;
  hspi1.Init.FirstBit = SPI_FIRSTBIT_MSB;
  hspi1.Init.TIMode = SPI_TIMODE_DISABLE;
  hspi1.Init.CRCCalculation = SPI_CRCCALCULATION_DISABLE;
  hspi1.Init.CRCPolynomial = 10;
  if (HAL_SPI_Init(&hspi1) != HAL_OK)
  {
    Error_Handler();
  }

}

static void MX_SPI5_Init(void)
{

  /* SPI5 parameter configuration*/
  hspi5.Instance = SPI5;
  hspi5.Init.Mode = SPI_MODE_MASTER;
  hspi5.Init.Direction = SPI_DIRECTION_2LINES;
  hspi5.Init.DataSize = SPI_DATASIZE_8BIT;
  hspi5.Init.CLKPolarity = SPI_POLARITY_LOW;
  hspi5.Init.CLKPhase = SPI_PHASE_1EDGE;
  hspi5.Init.NSS = SPI_NSS_SOFT;
  hspi5.Init.BaudRatePrescaler = SPI_BAUDRATEPRESCALER_8;
  hspi5.Init.FirstBit = SPI_FIRSTBIT_MSB;
  hspi5.Init.TIMode = SPI_TIMODE_DISABLE;
  hspi5.Init.CRCCalculation = SPI_CRCCALCULATION_DISABLE;
  hspi5.Init.CRCPolynomial = 10;
  if (HAL_SPI_Init(&hspi5) != HAL_OK)
  {
    Error_Handler();
  }

}

static void MX_TIM2_Init(void)
{

  TIM_ClockConfigTypeDef sClockSourceConfig = {0};
  TIM_MasterConfigTypeDef sMasterConfig = {0};

  htim2.Instance = TIM2;
  htim2.Init.Prescaler = 959;
  htim2.Init.CounterMode = TIM_COUNTERMODE_UP;
  htim2.Init.Period = 9999;
  htim2.Init.ClockDivision = TIM_CLOCKDIVISION_DIV1;
  htim2.Init.AutoReloadPreload = TIM_AUTORELOAD_PRELOAD_DISABLE;
  if (HAL_TIM_Base_Init(&htim2) != HAL_OK)
  {
    Error_Handler();
  }
  sClockSourceConfig.ClockSource = TIM_CLOCKSOURCE_INTERNAL;
  if (HAL_TIM_ConfigClockSource(&htim2, &sClockSourceConfig) != HAL_OK)
  {
    Error_Handler();
  }
  sMasterConfig.MasterOutputTrigger = TIM_TRGO_UPDATE;
  sMasterConfig.MasterSlaveMode = TIM_MASTERSLAVEMODE_DISABLE;
  if (HAL_TIMEx_MasterConfigSynchronization(&htim2, &sMasterConfig) != HAL_OK)
  {
    Error_Handler();
  }

}

static void MX_TIM4_Init(void)
{

  TIM_ClockConfigTypeDef sClockSourceConfig = {0};
  TIM_MasterConfigTypeDef sMasterConfig = {0};
  TIM_OC_InitTypeDef sConfigOC = {0};

  htim4.Instance = TIM4;
  htim4.Init.Prescaler = 95;
  htim4.Init.CounterMode = TIM_COUNTERMODE_UP;
  htim4.Init.Period = 369;
  htim4.Init.ClockDivision = TIM_CLOCKDIVISION_DIV1;
  htim4.Init.AutoReloadPreload = TIM_AUTORELOAD_PRELOAD_ENABLE;
  if (HAL_TIM_Base_Init(&htim4) != HAL_OK)
  {
    Error_Handler();
  }
  sClockSourceConfig.ClockSource = TIM_CLOCKSOURCE_INTERNAL;
  if (HAL_TIM_ConfigClockSource(&htim4, &sClockSourceConfig) != HAL_OK)
  {
    Error_Handler();
  }
  if (HAL_TIM_PWM_Init(&htim4) != HAL_OK)
  {
    Error_Handler();
  }
  sMasterConfig.MasterOutputTrigger = TIM_TRGO_RESET;
  sMasterConfig.MasterSlaveMode = TIM_MASTERSLAVEMODE_DISABLE;
  if (HAL_TIMEx_MasterConfigSynchronization(&htim4, &sMasterConfig) != HAL_OK)
  {
    Error_Handler();
  }
  sConfigOC.OCMode = TIM_OCMODE_PWM1;
  sConfigOC.Pulse = 185;
  sConfigOC.OCPolarity = TIM_OCPOLARITY_HIGH;
  sConfigOC.OCFastMode = TIM_OCFAST_DISABLE;
  if (HAL_TIM_PWM_ConfigChannel(&htim4, &sConfigOC, TIM_CHANNEL_1) != HAL_OK)
  {
    Error_Handler();
  }
  HAL_TIM_MspPostInit(&htim4);

}

static void MX_TIM5_Init(void)
{

  TIM_ClockConfigTypeDef sClockSourceConfig = {0};
  TIM_MasterConfigTypeDef sMasterConfig = {0};

  htim5.Instance = TIM5;
  htim5.Init.Prescaler = 95;
  htim5.Init.CounterMode = TIM_COUNTERMODE_UP;
  htim5.Init.Period = 4294967295;
  htim5.Init.ClockDivision = TIM_CLOCKDIVISION_DIV1;
  htim5.Init.AutoReloadPreload = TIM_AUTORELOAD_PRELOAD_DISABLE;
  if (HAL_TIM_Base_Init(&htim5) != HAL_OK)
  {
    Error_Handler();
  }
  sClockSourceConfig.ClockSource = TIM_CLOCKSOURCE_INTERNAL;
  if (HAL_TIM_ConfigClockSource(&htim5, &sClockSourceConfig) != HAL_OK)
  {
    Error_Handler();
  }
  sMasterConfig.MasterOutputTrigger = TIM_TRGO_RESET;
  sMasterConfig.MasterSlaveMode = TIM_MASTERSLAVEMODE_DISABLE;
  if (HAL_TIMEx_MasterConfigSynchronization(&htim5, &sMasterConfig) != HAL_OK)
  {
    Error_Handler();
  }

}

static void MX_USART1_UART_Init(void)
{

  huart1.Instance = USART1;
  huart1.Init.BaudRate = 115200;
  huart1.Init.WordLength = UART_WORDLENGTH_8B;
  huart1.Init.StopBits = UART_STOPBITS_1;
  huart1.Init.Parity = UART_PARITY_NONE;
  huart1.Init.Mode = UART_MODE_TX;
  huart1.Init.HwFlowCtl = UART_HWCONTROL_NONE;
  huart1.Init.OverSampling = UART_OVERSAMPLING_16;
  if (HAL_UART_Init(&huart1) != HAL_OK)
  {
    Error_Handler();
  }

}

static void MX_USART2_UART_Init(void)
{

  huart2.Instance = USART2;
  huart2.Init.BaudRate = 115200;
  huart2.Init.WordLength = UART_WORDLENGTH_8B;
  huart2.Init.StopBits = UART_STOPBITS_1;
  huart2.Init.Parity = UART_PARITY_NONE;
  huart2.Init.Mode = UART_MODE_TX_RX;
  huart2.Init.HwFlowCtl = UART_HWCONTROL_NONE;
  huart2.Init.OverSampling = UART_OVERSAMPLING_16;
  if (HAL_UART_Init(&huart2) != HAL_OK)
  {
    Error_Handler();
  }

}

static void MX_USART6_UART_Init(void)
{

  huart6.Instance = USART6;
  huart6.Init.BaudRate = 9600;
  huart6.Init.WordLength = UART_WORDLENGTH_8B;
  huart6.Init.StopBits = UART_STOPBITS_1;
  huart6.Init.Parity = UART_PARITY_NONE;
  huart6.Init.Mode = UART_MODE_TX_RX;
  huart6.Init.HwFlowCtl = UART_HWCONTROL_NONE;
  huart6.Init.OverSampling = UART_OVERSAMPLING_16;
  if (HAL_UART_Init(&huart6) != HAL_OK)
  {
    Error_Handler();
  }

}

static void MX_DMA_Init(void)
{

  /* DMA controller clock enable */
  __HAL_RCC_DMA2_CLK_ENABLE();
  __HAL_RCC_DMA1_CLK_ENABLE();

  /* DMA interrupt init */
  /* DMA1_Stream0_IRQn interrupt configuration */
  HAL_NVIC_SetPriority(DMA1_Stream0_IRQn, 0, 0);
  HAL_NVIC_EnableIRQ(DMA1_Stream0_IRQn);
  /* DMA1_Stream6_IRQn interrupt configuration */
  HAL_NVIC_SetPriority(DMA1_Stream6_IRQn, 0, 0);
  HAL_NVIC_EnableIRQ(DMA1_Stream6_IRQn);
  /* DMA2_Stream0_IRQn interrupt configuration */
  HAL_NVIC_SetPriority(DMA2_Stream0_IRQn, 0, 0);
  HAL_NVIC_EnableIRQ(DMA2_Stream0_IRQn);
  /* DMA2_Stream1_IRQn interrupt configuration */
  HAL_NVIC_SetPriority(DMA2_Stream1_IRQn, 0, 0);
  HAL_NVIC_EnableIRQ(DMA2_Stream1_IRQn);
  /* DMA2_Stream3_IRQn interrupt configuration */
  HAL_NVIC_SetPriority(DMA2_Stream3_IRQn, 0, 0);
  HAL_NVIC_EnableIRQ(DMA2_Stream3_IRQn);
  /* DMA2_Stream4_IRQn interrupt configuration */
  HAL_NVIC_SetPriority(DMA2_Stream4_IRQn, 0, 0);
  HAL_NVIC_EnableIRQ(DMA2_Stream4_IRQn);
  /* DMA2_Stream7_IRQn interrupt configuration */
  HAL_NVIC_SetPriority(DMA2_Stream7_IRQn, 0, 0);
  HAL_NVIC_EnableIRQ(DMA2_Stream7_IRQn);

}

static void MX_GPIO_Init(void)
{
  GPIO_InitTypeDef GPIO_InitStruct = {0};

  /* GPIO Ports Clock Enable */
  __HAL_RCC_GPIOF_CLK_ENABLE();
  __HAL_RCC_GPIOH_CLK_ENABLE();
  __HAL_RCC_GPIOC_CLK_ENABLE();
  __HAL_RCC_GPIOA_CLK_ENABLE();
  __HAL_RCC_GPIOB_CLK_ENABLE();
  __HAL_RCC_GPIOG_CLK_ENABLE();
  __HAL_RCC_GPIOE_CLK_ENABLE();
  __HAL_RCC_GPIOD_CLK_ENABLE();

  /*Configure GPIO pin Output Level */
  HAL_GPIO_WritePin(GPIOF, CriticalLED_G_Pin|CriticalLED_R_Pin|Pyros_CTN_Pin|Pyros_Arm_Pin
                          |Fire_4_Pin|Fire_3_Pin|Fire_2_Pin, GPIO_PIN_RESET);

  /*Configure GPIO pin Output Level */
  HAL_GPIO_WritePin(BARO_SPI1_CS_GPIO_Port, BARO_SPI1_CS_Pin, GPIO_PIN_RESET);

  /*Configure GPIO pin Output Level */
  HAL_GPIO_WritePin(Fire_1_GPIO_Port, Fire_1_Pin, GPIO_PIN_RESET);

  /*Configure GPIO pin Output Level */
  HAL_GPIO_WritePin(SD_SPI5_CS_GPIO_Port, SD_SPI5_CS_Pin, GPIO_PIN_RESET);

  /*Configure GPIO pin Output Level */
  HAL_GPIO_WritePin(IMU_nReset_GPIO_Port, IMU_nReset_Pin, GPIO_PIN_RESET);

  /*Configure GPIO pins : CriticalLED_G_Pin CriticalLED_R_Pin Pyros_CTN_Pin Pyros_Arm_Pin
                           Fire_4_Pin Fire_3_Pin Fire_2_Pin */
  GPIO_InitStruct.Pin = CriticalLED_G_Pin|CriticalLED_R_Pin|Pyros_CTN_Pin|Pyros_Arm_Pin
                          |Fire_4_Pin|Fire_3_Pin|Fire_2_Pin;
  GPIO_InitStruct.Mode = GPIO_MODE_OUTPUT_PP;
  GPIO_InitStruct.Pull = GPIO_NOPULL;
  GPIO_InitStruct.Speed = GPIO_SPEED_FREQ_LOW;
  HAL_GPIO_Init(GPIOF, &GPIO_InitStruct);

  /*Configure GPIO pin : BARO_SPI1_CS_Pin */
  GPIO_InitStruct.Pin = BARO_SPI1_CS_Pin;
  GPIO_InitStruct.Mode = GPIO_MODE_OUTPUT_PP;
  GPIO_InitStruct.Pull = GPIO_NOPULL;
  GPIO_InitStruct.Speed = GPIO_SPEED_FREQ_LOW;
  HAL_GPIO_Init(BARO_SPI1_CS_GPIO_Port, &GPIO_InitStruct);

  /*Configure GPIO pin : Fire_1_Pin */
  GPIO_InitStruct.Pin = Fire_1_Pin;
  GPIO_InitStruct.Mode = GPIO_MODE_OUTPUT_PP;
  GPIO_InitStruct.Pull = GPIO_NOPULL;
  GPIO_InitStruct.Speed = GPIO_SPEED_FREQ_LOW;
  HAL_GPIO_Init(Fire_1_GPIO_Port, &GPIO_InitStruct);

  /*Configure GPIO pin : Power_Good_Pin */
  GPIO_InitStruct.Pin = Power_Good_Pin;
  GPIO_InitStruct.Mode = GPIO_MODE_INPUT;
  GPIO_InitStruct.Pull = GPIO_NOPULL;
  HAL_GPIO_Init(Power_Good_GPIO_Port, &GPIO_InitStruct);

  /*Configure GPIO pin : SD_SPI5_CS_Pin */
  GPIO_InitStruct.Pin = SD_SPI5_CS_Pin;
  GPIO_InitStruct.Mode = GPIO_MODE_OUTPUT_PP;
  GPIO_InitStruct.Pull = GPIO_NOPULL;
  GPIO_InitStruct.Speed = GPIO_SPEED_FREQ_LOW;
  HAL_GPIO_Init(SD_SPI5_CS_GPIO_Port, &GPIO_InitStruct);

  /*Configure GPIO pins : EXTEND_IO1_Pin EXTEND_IO2_Pin */
  GPIO_InitStruct.Pin = EXTEND_IO1_Pin|EXTEND_IO2_Pin;
  GPIO_InitStruct.Mode = GPIO_MODE_AF_PP;
  GPIO_InitStruct.Pull = GPIO_NOPULL;
  GPIO_InitStruct.Speed = GPIO_SPEED_FREQ_VERY_HIGH;
  GPIO_InitStruct.Alternate = GPIO_AF7_USART3;
  HAL_GPIO_Init(GPIOB, &GPIO_InitStruct);

  /*Configure GPIO pins : EXTEND_IO3_Pin EXTEND_IO4_Pin */
  GPIO_InitStruct.Pin = EXTEND_IO3_Pin|EXTEND_IO4_Pin;
  GPIO_InitStruct.Mode = GPIO_MODE_INPUT;
  GPIO_InitStruct.Pull = GPIO_NOPULL;
  HAL_GPIO_Init(GPIOB, &GPIO_InitStruct);

  /*Configure GPIO pin : USB_5V_Pin */
  GPIO_InitStruct.Pin = USB_5V_Pin;
  GPIO_InitStruct.Mode = GPIO_MODE_INPUT;
  GPIO_InitStruct.Pull = GPIO_NOPULL;
  HAL_GPIO_Init(USB_5V_GPIO_Port, &GPIO_InitStruct);

  /*Configure GPIO pin : IMU_INT_Pin */
  GPIO_InitStruct.Pin = IMU_INT_Pin;
  GPIO_InitStruct.Mode = GPIO_MODE_IT_RISING;
  GPIO_InitStruct.Pull = GPIO_PULLDOWN;
  HAL_GPIO_Init(IMU_INT_GPIO_Port, &GPIO_InitStruct);

  /*Configure GPIO pin : IMU_nReset_Pin */
  GPIO_InitStruct.Pin = IMU_nReset_Pin;
  GPIO_InitStruct.Mode = GPIO_MODE_OUTPUT_PP;
  GPIO_InitStruct.Pull = GPIO_NOPULL;
  GPIO_InitStruct.Speed = GPIO_SPEED_FREQ_LOW;
  HAL_GPIO_Init(IMU_nReset_GPIO_Port, &GPIO_InitStruct);

  /* EXTI interrupt init*/
  HAL_NVIC_SetPriority(EXTI4_IRQn, 0, 0);
  HAL_NVIC_EnableIRQ(EXTI4_IRQn);

}

void Error_Handler(void)
{
  __disable_irq();
  while (1)
  {
  }
}
